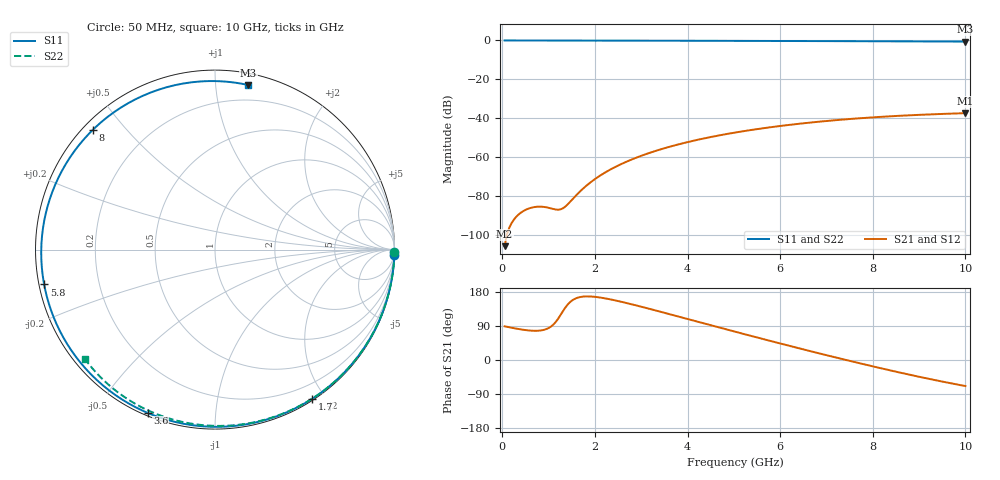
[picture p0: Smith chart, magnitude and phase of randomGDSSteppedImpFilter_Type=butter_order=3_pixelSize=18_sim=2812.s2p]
! freq	dB(S11)	phase(S11)	dB(S12)	phase(S12)
!  dB(S21)	phase(S21)	dB(S22)	phase(S22)
!S-par simulation data
#  GHz  S  DB  R 50
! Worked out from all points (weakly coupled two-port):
!   200 points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, 50 MHz to 10 GHz, reference 50 ohm
!   highest |S21| = -37.47 dB at 10 GHz (marker M1); lowest = -106.0 dB at 50 MHz (marker M2)
!   lowest |S11| = -0.6 dB at 10 GHz (marker M3), VSWR 29.98, Z = 4.16 + j61 ohm
!   |S11| at or under -10 dB: nowhere
!   |S22| runs from -0.5 to 0.0 dB; largest |S21 - S12| = 0
!   S11 on the Smith chart (normalised r, x): 50 MHz: 0, -66; 1.7 GHz: 0.02, -1.85; 3.6 GHz: 0.01, -0.67; 5.8 GHz: 0.01, -0.10; 8 GHz: 0.03, +0.41; 10 GHz: 0.08, +1.22
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0.05  -0.00 -1.7  -106.00 88.9  -106.00 88.9  -0.00 -0.8
0.4  -0.02 -13.8  -88.76 80.7  -88.76 80.7  -0.01 -6.4
0.75  -0.03 -25.6  -85.69 77.1  -85.69 77.1  -0.02 -12.1
1.55  -0.06 -52.0  -80.95 160.4  -80.95 160.4  -0.03 -24.8
1.6  -0.07 -53.7  -79.69 163.3  -79.69 163.3  -0.03 -25.5
1.7  -0.07 -56.8  -77.30 166.5  -77.30 166.5  -0.03 -27.1
1.75  -0.07 -58.4  -76.20 167.4  -76.20 167.4  -0.04 -27.9
2.05  -0.08 -67.8  -70.61 166.0  -70.61 166.0  -0.04 -32.6
2.45  -0.10 -79.9  -65.06 157.0  -65.06 157.0  -0.05 -38.7
2.9  -0.11 -93.0  -60.34 143.8  -60.34 143.8  -0.06 -45.6
3.4  -0.13 -107.0  -56.25 127.9  -56.25 127.9  -0.07 -53.0
3.6  -0.14 -112.5  -54.85 121.3  -54.85 121.3  -0.08 -56.0
4.35  -0.17 -132.2  -50.50 96.7  -50.50 96.7  -0.10 -66.9
5.05  -0.21 -149.9  -47.36 73.9  -47.36 73.9  -0.12 -76.7
5.8  -0.25 -168.5  -44.69 49.9  -44.69 49.9  -0.15 -86.9
6.7  -0.31 169.2  -42.19 21.9  -42.19 21.9  -0.19 -98.8
7.35  -0.36 152.8  -40.77 2.2  -40.77 2.2  -0.23 -107.2
8  -0.42 135.7  -39.63 -16.8  -39.63 -16.8  -0.28 -115.3
8.35  -0.44 126.2  -39.11 -26.7  -39.11 -26.7  -0.31 -119.7
9.2  -0.51 102.3  -38.13 -49.4  -38.13 -49.4  -0.39 -130.2
9.6  -0.55 90.5  -37.78 -59.4  -37.78 -59.4  -0.43 -135.2
10  -0.58 78.5  -37.47 -68.8  -37.47 -68.8  -0.47 -140.1
